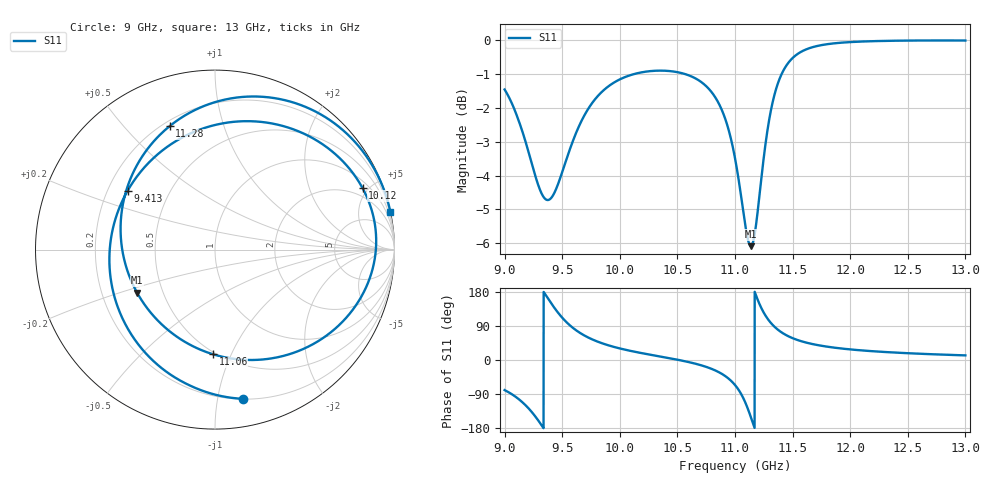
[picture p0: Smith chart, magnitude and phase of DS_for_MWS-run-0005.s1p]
! TOUCHSTONE file generated by CST DESIGN STUDIO
! Date and time: Tue Feb  4 14:30:05 2025
! Project name: C:\Work\MatlabApps\UnitCellOptimizationMatlab\CST\unitcell.cst
! Tree item: Tasks\Sweep1\SPara1\S-Parameters
! Header version: 2024
! Port assignment regex: !\s*Touchstone port\s*([0-9]+)\s*=\s*(CST MWS port|CST DES external port|CST DES block port)\s*(.+)\s* \(\"(.*)\"\)(\s*mode\s*([0-9]+))?.*
! Touchstone port assignment:
! Touchstone port 1 = CST DES external port 1 ("")
# GHz S MA R 50
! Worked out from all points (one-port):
!   4001 points, 9 GHz to 13 GHz, reference 50 ohm
!   lowest |S11| = -6.1 dB at 11.14 GHz (marker M1), VSWR 2.97, Z = 17.8 - j11.3 ohm
!   |S11| at or under -10 dB: nowhere
!   S11 on the Smith chart (normalised r, x): 9 GHz: 0.20, -1.18; 9.413 GHz: 0.28, +0.28; 10.12 GHz: 1.39, +4.59; 11.06 GHz: 0.48, -0.85; 11.28 GHz: 0.23, +0.67; 13 GHz: 0.03, +9.36
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9  0.8458 -79.4
9.102  0.7771 -98.5
9.19  0.7003 -121.9
9.308  0.6005 -166.4
9.413  0.5871 145.9
9.5  0.6383 111.7
9.602  0.7165 82.6
9.735  0.7964 58.0
9.857  0.8429 43.0
10  0.8754 30.5
10.115  0.8906 22.6
10.5  0.8972 0.8
10.682  0.8733 -11.8
10.815  0.8302 -25.7
10.916  0.7646 -42.5
11  0.6695 -66.0
11.056  0.5831 -91.2
11.097  0.523 -117.5
11.138  0.4961 -151.1
11.17  0.5158 -179.2
11.202  0.5682 155.2
11.28  0.7328 110.2
11.365  0.8562 81.8
11.5  0.9415 57.6
11.695  0.9792 40.7
12  0.994 28.0
12.5  0.9991 17.9
13  0.9993 12.2
